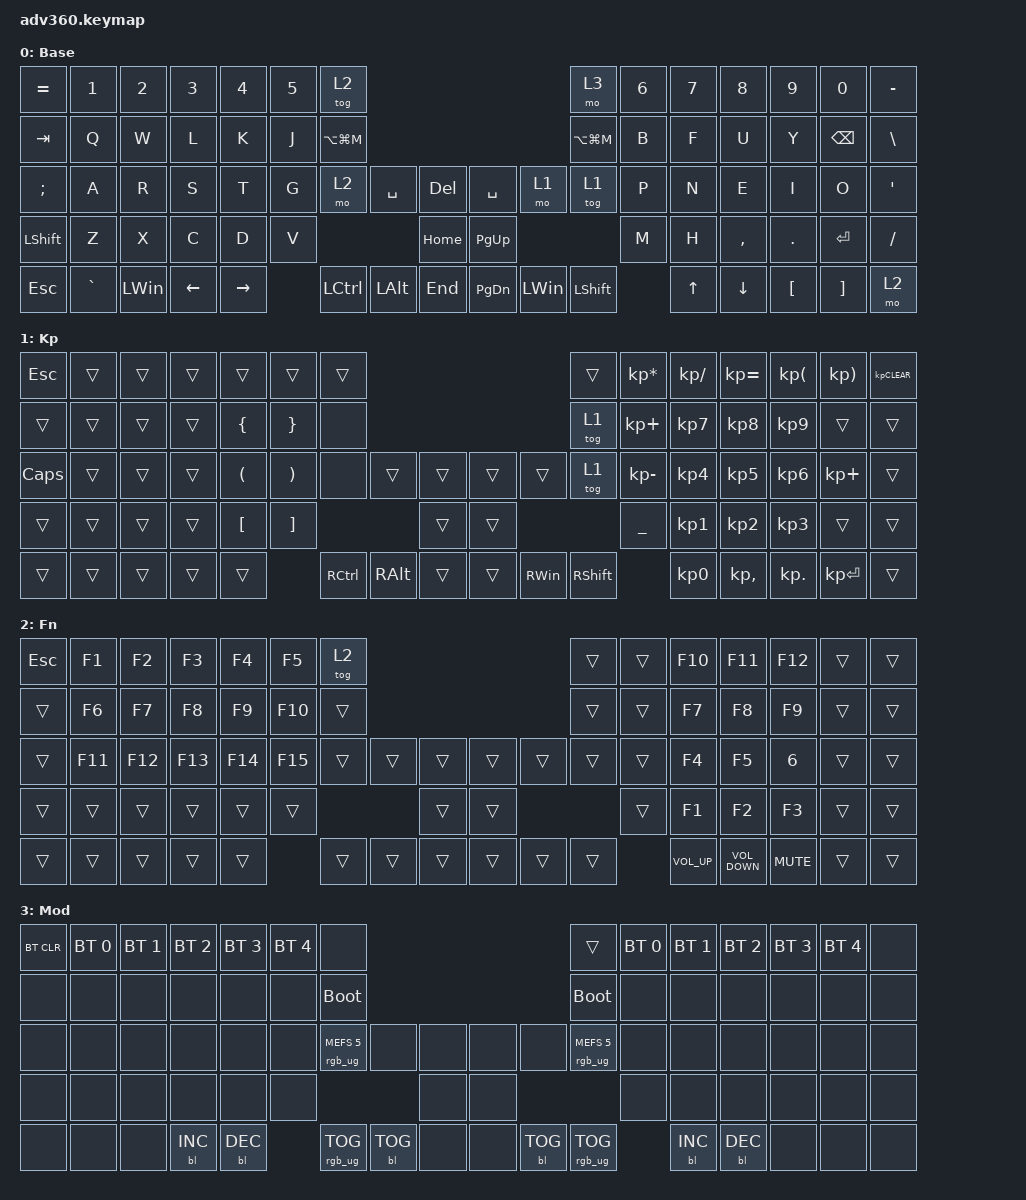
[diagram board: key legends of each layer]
/* THIS FILE WAS GENERATED!
 *
 * This file was generated automatically. You may or may not want to
 * edit it directly.
 */

#include <dt-bindings/zmk/stp.h>
#include <behaviors.dtsi>
#include <dt-bindings/zmk/backlight.h>
#include <dt-bindings/zmk/bt.h>
#include <dt-bindings/zmk/keys.h>
#include <dt-bindings/zmk/rgb.h>

/ {
    behaviors {
        #include "macros.dtsi"
      #include "version.dtsi"

        hm: homerow_mods {
            compatible = "zmk,behavior-hold-tap";
            label = "HOMEROW_MODS";
            #binding-cells = <2>;
            tapping-term-ms = <200>;
            quick_tap_ms = <175>;
            flavor = "tap-preferred";
            bindings = <&kp>, <&kp>;
        };
    };

    keymap {
        compatible = "zmk,keymap";

        default_layer {
            display-name = "Base";
            bindings = <
&kp EQUAL      &kp N1     &kp N2        &kp N3    &kp N4     &kp N5  &tog 2                                                              &mo 3           &kp N6  &kp N7  &kp N8     &kp N9    &kp N0         &kp MINUS
&kp TAB        &kp Q      &kp W         &kp L     &kp K      &kp J   &kp LA(LG(M))                                                       &kp LA(LG(M))   &kp B   &kp F   &kp U      &kp Y     &kp BACKSPACE  &kp BSLH
&kp SEMICOLON  &kp A      &kp R         &kp S     &kp T      &kp G   &mo 2          &kp SPACE     &kp DEL       &kp SPACE  &mo 1         &tog 1          &kp P   &kp N   &kp E      &kp I     &kp O          &kp SQT
&kp LSHFT      &kp Z      &kp X         &kp C     &kp D      &kp V                                &kp HOME      &kp PG_UP                                &kp M   &kp H   &kp COMMA  &kp DOT   &kp ENTER      &kp SLASH
&kp ESC        &kp GRAVE  &kp LEFT_WIN  &kp LEFT  &kp RIGHT          &kp LCTRL      &kp LEFT_ALT  &kp END       &kp PG_DN  &kp LEFT_WIN  &kp LEFT_SHIFT          &kp UP  &kp DOWN   &kp LBKT  &kp RBKT       &mo 2
            >;
        };

        keypad {
            display-name = "Kp";
            bindings = <
&kp ESC       &trans  &trans  &trans  &trans                &trans                 &trans                                                               &trans           &kp KP_MULTIPLY  &kp KP_SLASH     &kp KP_EQUAL  &kp KP_LPAR  &kp KP_RPAR   &kp KP_CLEAR
&trans        &trans  &trans  &trans  &kp LEFT_BRACE        &kp RIGHT_BRACE        &none                                                                &tog 1           &kp KP_PLUS      &kp KP_N7        &kp KP_N8     &kp KP_N9    &trans        &trans
&kp CAPSLOCK  &trans  &trans  &trans  &kp LEFT_PARENTHESIS  &kp RIGHT_PARENTHESIS  &none              &trans         &trans      &trans  &trans         &tog 1           &kp KP_MINUS     &kp KP_N4        &kp KP_N5     &kp KP_N6    &kp KP_PLUS   &trans
&trans        &trans  &trans  &trans  &kp LEFT_BRACKET      &kp RIGHT_BRACKET                                        &trans      &trans                                  &kp UNDERSCORE   &kp KP_N1        &kp KP_N2     &kp KP_N3    &trans        &trans
&trans        &trans  &trans  &trans  &trans                                       &kp RIGHT_CONTROL  &kp RIGHT_ALT  &trans      &trans  &kp RIGHT_WIN  &kp RIGHT_SHIFT                   &kp KP_NUMBER_0  &kp KP_COMMA  &kp KP_DOT   &kp KP_ENTER  &trans
            >;
        };

        fn {
            display-name = "Fn";
            bindings = <
&kp ESC  &kp F1   &kp F2   &kp F3   &kp F4   &kp F5   &tog 2                                      &trans  &trans  &kp F10          &kp F11            &kp F12       &trans  &trans
&trans   &kp F6   &kp F7   &kp F8   &kp F9   &kp F10  &trans                                      &trans  &trans  &kp F7           &kp F8             &kp F9        &trans  &trans
&trans   &kp F11  &kp F12  &kp F13  &kp F14  &kp F15  &trans  &trans  &trans      &trans  &trans  &trans  &trans  &kp F4           &kp F5             &kp NUMBER_6  &trans  &trans
&trans   &trans   &trans   &trans   &trans   &trans                   &trans      &trans                  &trans  &kp F1           &kp F2             &kp F3        &trans  &trans
&trans   &trans   &trans   &trans   &trans            &trans  &trans  &trans      &trans  &trans  &trans          &kp C_VOLUME_UP  &kp C_VOLUME_DOWN  &kp C_MUTE    &trans  &trans
            >;
        };

        mod {
            display-name = "Mod";
            bindings = <
&bt BT_CLR  &bt BT_SEL 0  &bt BT_SEL 1  &bt BT_SEL 2  &bt BT_SEL 3  &bt BT_SEL 4  &none                                                             &trans                  &bt BT_SEL 0  &bt BT_SEL 1  &bt BT_SEL 2  &bt BT_SEL 3  &bt BT_SEL 4  &none
&none       &none         &none         &none         &none         &none         &bootloader                                                       &bootloader             &none         &none         &none         &none         &none         &none
&none       &none         &none         &none         &none         &none         &rgb_ug RGB_MEFS_CMD 5  &none       &none      &none  &none       &rgb_ug RGB_MEFS_CMD 5  &none         &none         &none         &none         &none         &none
&none       &none         &none         &none         &none         &none                                             &none      &none                                      &none         &none         &none         &none         &none         &none
&none       &none         &none         &bl BL_INC    &bl BL_DEC                  &rgb_ug RGB_TOG         &bl BL_TOG  &none      &none  &bl BL_TOG  &rgb_ug RGB_TOG                       &bl BL_INC    &bl BL_DEC    &none         &none         &none
            >;
        };

        extra1 {
            display-name = "Red";
            status = "reserved";
        };

        extra2 {
            display-name = "Purple";
            status = "reserved";
        };

        extra3 {
            display-name = "Cyan";
            status = "reserved";
        };

        extra4 {
            display-name = "Yellow";
            status = "reserved";
        };
    };
};
